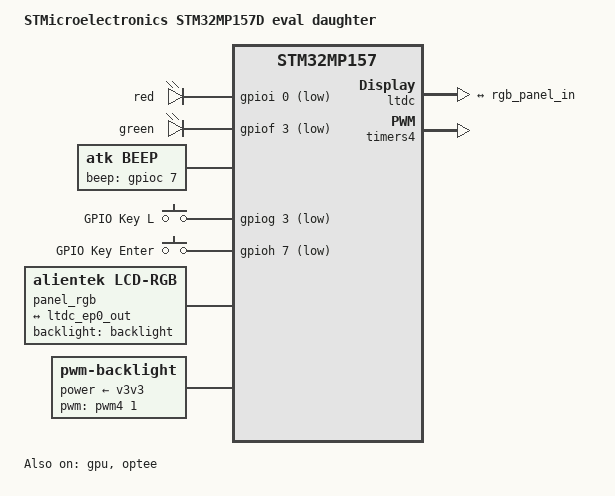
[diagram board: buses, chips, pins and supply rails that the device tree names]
// SPDX-License-Identifier: (GPL-2.0+ OR BSD-3-Clause)
/*
 * Copyright (C) STMicroelectronics 2019 - All Rights Reserved
 * Author: Alexandre Torgue <alexandre.torgue@st.com> for STMicroelectronics.
 */
/dts-v1/;

#include "stm32mp157.dtsi"
#include "stm32mp15xd.dtsi"
#include "stm32mp15-pinctrl.dtsi"
#include "stm32mp15xxaa-pinctrl.dtsi"
#include "stm32mp157-m4-srm.dtsi"
#include "stm32mp157-m4-srm-pinctrl.dtsi"
#include "stm32mp157d-atk.dtsi"
#include <dt-bindings/input/input.h>
/ {
	model = "STMicroelectronics STM32MP157D eval daughter";
	compatible = "st,stm32mp157d-ed1", "st,stm32mp157";

	chosen {
		stdout-path = "serial0:115200n8";
	};

	aliases {
		serial0 = &uart4;
	};

	reserved-memory {
		gpu_reserved: gpu@f6000000 {
			reg = <0xf6000000 0x8000000>;
			no-map;
		};

		optee_memory: optee@fe000000 {
			reg = <0xfe000000 0x02000000>;
			no-map;
		};
	};
	
/*
	led {
		compatible = "atk,led";          
		pinctrl-names = "default";
		led-gpios = <&gpioi 0 GPIO_ACTIVE_LOW>;
		status = "okay";
	};
*/
/*	gpioled {
		compatible = "alientek,led";
		pinctrl-names = "default";
		status = "okay";
		pinctrl-0 = <&led_pins_a>;
		led-gpio = <&gpioi 0 GPIO_ACTIVE_LOW>;
	};
	*/
	dtsleds {
		compatible = "gpio-leds";
		pinctrl-0 = <&led_pins_a>;

		led0 {
			label = "red";
			gpios = <&gpioi 0 GPIO_ACTIVE_LOW>;
			default-state = "off";
		};
		
		led1 {
			label = "green";
			gpios = <&gpiof 3 GPIO_ACTIVE_LOW>;
			default-state = "off";
		};
	};
	
	beep{
		compatible = "atk,beep";
		beep-gpios = <&gpioc 7 GPIO_ACTIVE_HIGH>;
		status = "okay";
	};

	/*
	 * 使用 Linux 内核通用 gpio-keys 驱动注册两路普通按键。
	 * KEY0/KEY1 均为低电平有效；PA0/WK_UP 属于复位相关按键，不在这里注册。
	 */
	gpio_keys: gpio-keys {
		compatible = "gpio-keys";
		pinctrl-names = "default";
		pinctrl-0 = <&key_pins_a>;
		autorepeat;
		status = "okay";

		key0 {
			label = "GPIO Key L";
			linux,code = <KEY_L>;
			gpios = <&gpiog 3 GPIO_ACTIVE_LOW>;
			debounce-interval = <15>;
		};

		key1 {
			label = "GPIO Key Enter";
			linux,code = <KEY_ENTER>;
			gpios = <&gpioh 7 GPIO_ACTIVE_LOW>;
			debounce-interval = <15>;
		};
	};

	/*
	 * RGB LCD 面板节点：panel-simple 通过 compatible 匹配面板时序，
	 * backlight 属性把面板和 PWM 背光设备关联起来。
	 */
	panel_rgb: panel-rgb {
		compatible = "alientek,lcd-rgb";
		backlight = <&backlight>;
		status = "okay";

		port {
			rgb_panel_in: endpoint {
				remote-endpoint = <&ltdc_ep0_out>;
			};
		};
	};


	/*
	 * LCD 背光节点：使用 TIM4_CH2 输出 PWM，占空比由 brightness-levels 映射。
	 */
	backlight: backlight {
		compatible = "pwm-backlight";
		pwms = <&pwm4 1 5000000>;
		brightness-levels = <0 4 8 16 32 64 128 255>;
		power-supply = <&v3v3>;
		default-brightness-level = <7>;
		status = "okay";
	};
};

&cpu1{
	cpu-supply = <&vddcore>;
};

&gpu {
	contiguous-area = <&gpu_reserved>;
	status = "okay";
};

&optee {
	status = "okay";
};

&ltdc {
	pinctrl-names = "default", "sleep";
	pinctrl-0 = <&ltdc_pins_b>;
	pinctrl-1 = <&ltdc_pins_sleep_b>;
	status = "okay";

	port {
		#address-cells = <1>;
		#size-cells = <0>;

		ltdc_ep0_out: endpoint@0 {
			reg = <0>;
			remote-endpoint = <&rgb_panel_in>;
		};
	};

};

&timers4 {
	status = "okay";
	/* 删除 TIM4 默认 DMA 属性，避免 PWM 子节点继承无关 DMA 配置。 */
	/delete-property/dmas;
	/delete-property/dma-names;

	pwm4: pwm {
		pinctrl-0 = <&pwm4_pins_b>;
		pinctrl-1 = <&pwm4_sleep_pins_b>;
		pinctrl-names = "default", "sleep";
		#pwm-cells = <2>;
		status = "okay";
	};
};
